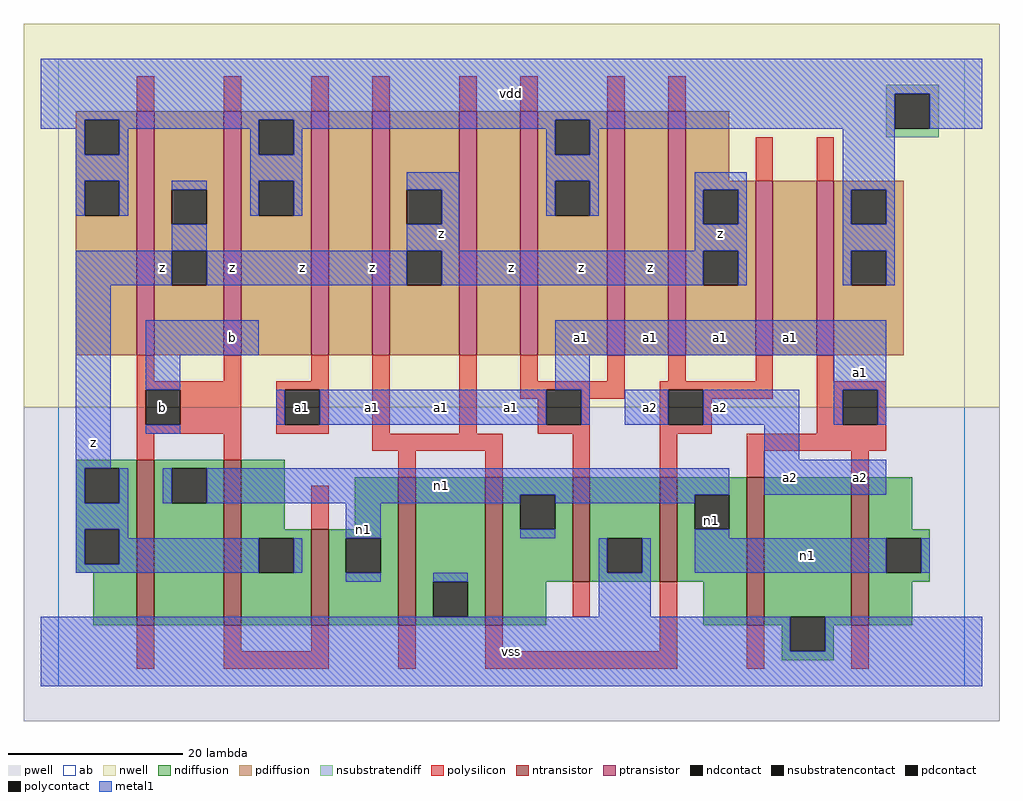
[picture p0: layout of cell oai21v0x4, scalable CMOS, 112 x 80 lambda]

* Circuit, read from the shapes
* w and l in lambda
.subckt oai21v0x4 a1 a2 b n1 vdd vss z
M1 n1 b z VSUBS nfet w=19 l=2 m=2
M2 n1 b z VSUBS nfet w=11 l=2
M3 vss a2 n1 VSUBS nfet w=17 l=2 m=2
M4 vss a1 n1 VSUBS nfet w=12 l=2
M5 n1 a2 vss VSUBS nfet w=12 l=2
M6 vss a1 n1 VSUBS nfet w=17 l=2 m=2
M7 z b vdd vdd pfet w=28 l=2 m=2
M8 n2 a1 vdd vdd pfet w=28 l=2
M9 z a2 n2 vdd pfet w=28 l=2
M10 n3 a2 z vdd pfet w=28 l=2
M11 vdd a1 n3 vdd pfet w=28 l=2
M12 n4 a1 vdd vdd pfet w=28 l=2
M13 z a2 n4 vdd pfet w=28 l=2
M14 n5 a2 z vdd pfet w=20 l=2
M15 vdd a1 n5 vdd pfet w=20 l=2
.ends

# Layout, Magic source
magic
tech scmos
<< ab >>
rect 0 0 104 72
<< pwell >>
rect -4 -4 108 32
<< nwell >>
rect -4 32 108 76
<< polysilicon >>
rect 9 66 11 70
rect 19 66 21 70
rect 29 66 31 70
rect 36 66 38 70
rect 46 66 48 70
rect 53 66 55 70
rect 63 66 65 70
rect 70 66 72 70
rect 80 58 82 63
rect 87 58 89 63
rect 9 35 11 38
rect 19 35 21 38
rect 29 35 31 38
rect 9 34 21 35
rect 9 30 10 34
rect 14 30 21 34
rect 9 29 21 30
rect 25 34 31 35
rect 25 30 26 34
rect 30 30 31 34
rect 25 29 31 30
rect 36 29 38 38
rect 46 29 48 38
rect 53 35 55 38
rect 63 35 65 38
rect 70 35 72 38
rect 80 35 82 38
rect 53 34 65 35
rect 53 33 56 34
rect 55 30 56 33
rect 60 33 65 34
rect 69 34 82 35
rect 60 30 61 33
rect 55 29 61 30
rect 9 26 11 29
rect 19 26 21 29
rect 36 27 51 29
rect 39 24 41 27
rect 49 24 51 27
rect 59 24 61 29
rect 69 30 70 34
rect 74 33 82 34
rect 87 35 89 38
rect 87 34 95 35
rect 74 30 75 33
rect 69 29 75 30
rect 87 30 90 34
rect 94 30 95 34
rect 87 29 95 30
rect 69 24 71 29
rect 79 27 95 29
rect 79 24 81 27
rect 91 24 93 27
rect 29 18 31 23
rect 59 8 61 12
rect 9 2 11 7
rect 19 4 21 7
rect 29 4 31 7
rect 19 2 31 4
rect 39 2 41 7
rect 49 4 51 7
rect 69 4 71 12
rect 49 2 71 4
rect 79 2 81 7
rect 91 2 93 7
<< ndiffusion >>
rect 2 25 9 26
rect 2 21 3 25
rect 7 21 9 25
rect 2 18 9 21
rect 2 14 3 18
rect 7 14 9 18
rect 2 13 9 14
rect 4 7 9 13
rect 11 25 19 26
rect 11 21 13 25
rect 17 21 19 25
rect 11 7 19 21
rect 21 18 26 26
rect 34 18 39 24
rect 21 17 29 18
rect 21 13 23 17
rect 27 13 29 17
rect 21 7 29 13
rect 31 17 39 18
rect 31 13 33 17
rect 37 13 39 17
rect 31 7 39 13
rect 41 12 49 24
rect 41 8 43 12
rect 47 8 49 12
rect 41 7 49 8
rect 51 22 59 24
rect 51 18 53 22
rect 57 18 59 22
rect 51 12 59 18
rect 61 17 69 24
rect 61 13 63 17
rect 67 13 69 17
rect 61 12 69 13
rect 71 22 79 24
rect 71 18 73 22
rect 77 18 79 22
rect 71 12 79 18
rect 51 7 56 12
rect 74 7 79 12
rect 81 8 91 24
rect 81 7 84 8
rect 83 4 84 7
rect 88 7 91 8
rect 93 18 98 24
rect 93 17 100 18
rect 93 13 95 17
rect 99 13 100 17
rect 93 12 100 13
rect 93 7 98 12
rect 88 4 89 7
rect 83 3 89 4
<< pdiffusion >>
rect 2 65 9 66
rect 2 61 3 65
rect 7 61 9 65
rect 2 58 9 61
rect 2 54 3 58
rect 7 54 9 58
rect 2 38 9 54
rect 11 57 19 66
rect 11 53 13 57
rect 17 53 19 57
rect 11 50 19 53
rect 11 46 13 50
rect 17 46 19 50
rect 11 38 19 46
rect 21 65 29 66
rect 21 61 23 65
rect 27 61 29 65
rect 21 58 29 61
rect 21 54 23 58
rect 27 54 29 58
rect 21 38 29 54
rect 31 38 36 66
rect 38 57 46 66
rect 38 53 40 57
rect 44 53 46 57
rect 38 50 46 53
rect 38 46 40 50
rect 44 46 46 50
rect 38 38 46 46
rect 48 38 53 66
rect 55 65 63 66
rect 55 61 57 65
rect 61 61 63 65
rect 55 58 63 61
rect 55 54 57 58
rect 61 54 63 58
rect 55 38 63 54
rect 65 38 70 66
rect 72 58 77 66
rect 72 57 80 58
rect 72 53 74 57
rect 78 53 80 57
rect 72 50 80 53
rect 72 46 74 50
rect 78 46 80 50
rect 72 38 80 46
rect 82 38 87 58
rect 89 57 97 58
rect 89 53 91 57
rect 95 53 97 57
rect 89 50 97 53
rect 89 46 91 50
rect 95 46 97 50
rect 89 38 97 46
<< metal1 >>
rect -2 68 106 72
rect -2 65 96 68
rect -2 64 3 65
rect 2 61 3 64
rect 7 64 23 65
rect 7 61 8 64
rect 2 58 8 61
rect 22 61 23 64
rect 27 64 57 65
rect 27 61 28 64
rect 22 58 28 61
rect 56 61 57 64
rect 61 64 96 65
rect 100 64 106 68
rect 61 61 62 64
rect 2 54 3 58
rect 7 54 8 58
rect 13 57 17 58
rect 22 54 23 58
rect 27 54 28 58
rect 40 57 46 59
rect 13 50 17 53
rect 44 53 46 57
rect 56 58 62 61
rect 56 54 57 58
rect 61 54 62 58
rect 73 57 79 59
rect 40 50 46 53
rect 73 53 74 57
rect 78 53 79 57
rect 73 50 79 53
rect 2 46 13 50
rect 17 46 40 50
rect 44 46 74 50
rect 78 46 79 50
rect 90 57 96 64
rect 90 53 91 57
rect 95 53 96 57
rect 90 50 96 53
rect 90 46 91 50
rect 95 46 96 50
rect 2 25 6 46
rect 10 38 23 42
rect 57 38 95 42
rect 10 34 14 38
rect 57 34 61 38
rect 89 34 95 38
rect 25 30 26 34
rect 30 30 56 34
rect 60 30 61 34
rect 65 30 70 34
rect 74 30 85 34
rect 89 30 90 34
rect 94 30 95 34
rect 10 29 14 30
rect 81 26 85 30
rect 2 21 3 25
rect 7 21 8 25
rect 12 21 13 25
rect 17 22 77 25
rect 81 22 95 26
rect 17 21 53 22
rect 2 18 8 21
rect 2 14 3 18
rect 7 17 8 18
rect 33 17 37 21
rect 57 21 73 22
rect 53 17 57 18
rect 73 17 77 18
rect 7 14 23 17
rect 2 13 23 14
rect 27 13 28 17
rect 62 13 63 17
rect 67 13 68 17
rect 73 13 95 17
rect 99 13 100 17
rect 33 12 37 13
rect 43 12 47 13
rect 62 8 68 13
rect -2 4 84 8
rect 88 4 106 8
rect -2 0 106 4
<< ntransistor >>
rect 9 7 11 26
rect 19 7 21 26
rect 29 7 31 18
rect 39 7 41 24
rect 49 7 51 24
rect 59 12 61 24
rect 69 12 71 24
rect 79 7 81 24
rect 91 7 93 24
<< ptransistor >>
rect 9 38 11 66
rect 19 38 21 66
rect 29 38 31 66
rect 36 38 38 66
rect 46 38 48 66
rect 53 38 55 66
rect 63 38 65 66
rect 70 38 72 66
rect 80 38 82 58
rect 87 38 89 58
<< polycontact >>
rect 10 30 14 34
rect 26 30 30 34
rect 56 30 60 34
rect 70 30 74 34
rect 90 30 94 34
<< ndcontact >>
rect 3 21 7 25
rect 3 14 7 18
rect 13 21 17 25
rect 23 13 27 17
rect 33 13 37 17
rect 43 8 47 12
rect 53 18 57 22
rect 63 13 67 17
rect 73 18 77 22
rect 84 4 88 8
rect 95 13 99 17
<< pdcontact >>
rect 3 61 7 65
rect 3 54 7 58
rect 13 53 17 57
rect 13 46 17 50
rect 23 61 27 65
rect 23 54 27 58
rect 40 53 44 57
rect 40 46 44 50
rect 57 61 61 65
rect 57 54 61 58
rect 74 53 78 57
rect 74 46 78 50
rect 91 53 95 57
rect 91 46 95 50
<< nsubstratencontact >>
rect 96 64 100 68
<< nsubstratendiff >>
rect 95 68 101 69
rect 95 64 96 68
rect 100 64 101 68
rect 95 63 101 64
<< labels >>
rlabel polycontact 12 32 12 32 6 b
rlabel metal1 4 28 4 28 6 z
rlabel metal1 12 48 12 48 6 z
rlabel metal1 35 18 35 18 6 n1
rlabel polycontact 28 32 28 32 6 a1
rlabel metal1 36 32 36 32 6 a1
rlabel metal1 20 40 20 40 6 b
rlabel metal1 20 48 20 48 6 z
rlabel metal1 28 48 28 48 6 z
rlabel metal1 36 48 36 48 6 z
rlabel metal1 52 4 52 4 6 vss
rlabel metal1 52 32 52 32 6 a1
rlabel metal1 44 32 44 32 6 a1
rlabel metal1 60 40 60 40 6 a1
rlabel metal1 44 52 44 52 6 z
rlabel metal1 52 48 52 48 6 z
rlabel metal1 60 48 60 48 6 z
rlabel metal1 52 68 52 68 6 vdd
rlabel ndcontact 75 19 75 19 6 n1
rlabel metal1 44 23 44 23 6 n1
rlabel metal1 68 32 68 32 6 a2
rlabel metal1 76 32 76 32 6 a2
rlabel metal1 68 40 68 40 6 a1
rlabel metal1 76 40 76 40 6 a1
rlabel metal1 76 52 76 52 6 z
rlabel metal1 68 48 68 48 6 z
rlabel metal1 86 15 86 15 6 n1
rlabel metal1 84 24 84 24 6 a2
rlabel metal1 92 24 92 24 6 a2
rlabel metal1 84 40 84 40 6 a1
rlabel metal1 92 36 92 36 6 a1
<< end >>
